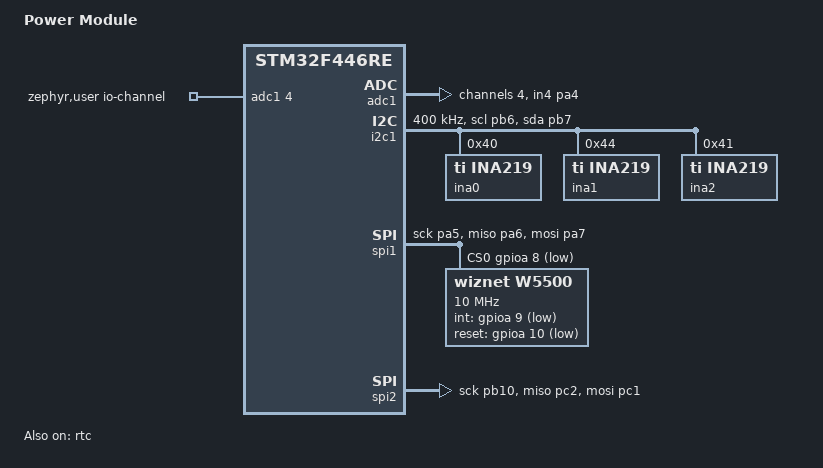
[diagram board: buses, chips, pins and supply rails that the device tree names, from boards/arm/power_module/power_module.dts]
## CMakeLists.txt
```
#-------------------------------------------------------------------------------
# Backplane Power Module Application
#
# Copyright (c) 2023 Aaron Chan
# SPDX-License-Identifier: Apache-2.0
cmake_minimum_required(VERSION 3.13.1)
find_package(Zephyr REQUIRED HINTS $ENV{ZEPHYR_BASE})

project(power-module LANGUAGES C)

FILE(GLOB sources src/*.c)
target_sources(app PRIVATE ${sources})
```

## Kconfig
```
# Copyright (c) 2024 Aaron Chan
# SPDX-License-Identifier: Apache-2.0

menu "Zephyr"
source "Kconfig.zephyr"
endmenu

config INA219_QUEUE_SIZE
    int "INA219 Queue Size"
    default 16
    help
      The number of samples to store in the INA219 processing queue.

config ADC_QUEUE_SIZE
    int "ADC Queue Size"
    default 16
    help
      The number of samples to store in the ADC processing queue.

module = APP_POWER_MODULE
module-str = APP_POWER_MODULE
source "subsys/logging/Kconfig.template.log_config"
```

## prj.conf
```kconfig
# Copyright (c) 2024 RIT Launch Initiative
# SPDX-License-Identifier: Apache-2.0

# ADC
CONFIG_ADC=y
CONFIG_ADC_ASYNC=y

# Clocks
CONFIG_CLOCK_CONTROL=y

# Flash
CONFIG_FLASH=y
CONFIG_FLASH_MAP=y
CONFIG_FLASH_PAGE_LAYOUT=y

# Filesystem
CONFIG_FLASH=y
CONFIG_FLASH_MAP=y
CONFIG_FLASH_PAGE_LAYOUT=y
CONFIG_DISK_ACCESS=y
CONFIG_FILE_SYSTEM=y
CONFIG_FILE_SYSTEM_LITTLEFS=y
CONFIG_FS_LITTLEFS_BLK_DEV=y

# Hashmap for UDP
CONFIG_SYS_HASH_MAP=y
CONFIG_SYS_HASH_FUNC32=y

# IO
CONFIG_GPIO=y
CONFIG_I2C=y
CONFIG_PINCTRL=y
CONFIG_SERIAL=y
CONFIG_LED=y

# OS
CONFIG_POLL=y
CONFIG_MAIN_STACK_SIZE=2048
CONFIG_STACK_USAGE=y
CONFIG_TIMESLICE_SIZE=50

# Launch Core
CONFIG_LAUNCH_CORE=y
CONFIG_LAUNCH_CORE_NET=y

# State Machine
CONFIG_SMF=y

# SPI
CONFIG_SPI=y
CONFIG_SPI_ASYNC=y
CONFIG_SPI_STM32_INTERRUPT=y
# CONFIG_SPI_STM32_DMA=y
CONFIG_SPI_RTIO=y

# Networking
CONFIG_NETWORKING=y
CONFIG_NET_ARP_TABLE_SIZE=4
CONFIG_NET_CONTEXT_RCVTIMEO=y
CONFIG_NET_DEFAULT_IF_ETHERNET=y
CONFIG_NET_DRIVERS=y
CONFIG_NET_IPV4=y
CONFIG_NET_IPV6=n
CONFIG_NET_L2_ETHERNET=y
CONFIG_NET_L2_ETHERNET_MGMT=y
CONFIG_NET_MAX_CONN=10
CONFIG_NET_SOCKETS=y
CONFIG_NET_SOCKETS_POSIX_NAMES=y
CONFIG_NET_STATISTICS=y
CONFIG_SNTP=y
CONFIG_TFTP_LIB=y

# RNG (Needed for networking)
CONFIG_ENTROPY_GENERATOR=y
CONFIG_TEST_RANDOM_GENERATOR=y # TODO: See if its worth using STM32 HW RNG to remove warning

# Sensors
CONFIG_SENSOR=y
CONFIG_SENSOR_ASYNC_API=y
```

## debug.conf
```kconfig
# Copyright (c) 2024 Launch Initiative
# SPDX-License-Identifier: Apache-2.0

# Compiler
CONFIG_DEBUG=y
CONFIG_DEBUG_OPTIMIZATIONS=y
CONFIG_DEBUG_THREAD_INFO=y
CONFIG_THREAD_RUNTIME_STATS=y

# Console
CONFIG_CBPRINTF_FP_SUPPORT=y
CONFIG_CONSOLE=y
CONFIG_CONSOLE_GETCHAR=y
CONFIG_CONSOLE_GETCHAR_BUFSIZE=64
CONFIG_CONSOLE_PUTCHAR_BUFSIZE=512
CONFIG_CONSOLE_SUBSYS=y
CONFIG_SERIAL=y
CONFIG_STDOUT_CONSOLE=y
CONFIG_UART_CONSOLE=y

# Shell (common)
CONFIG_SHELL=y
CONFIG_DEVICE_SHELL=y
CONFIG_FILE_SYSTEM_SHELL=y
CONFIG_FLASH_MAP_SHELL=y
CONFIG_GPIO_SHELL=y
CONFIG_KERNEL_SHELL=y
CONFIG_HEAP_MEM_POOL_SIZE=4096

# Shell (networking)
CONFIG_NET_SHELL=y
CONFIG_NET_ETHERNET_BRIDGE_SHELL=y

# Shell (unique)
CONFIG_I2C_SHELL=y

# Logging
CONFIG_APP_POWER_MODULE_LOG_LEVEL_DBG=y
CONFIG_LOG=y

# Networking
CONFIG_NET_STATISTICS=y
```

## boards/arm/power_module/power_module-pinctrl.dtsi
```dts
/ {
	soc {
		pinctrl: pin-controller@40020000 {
            eth_cs_pa8: eth_cs_pa8 {
                pinmux = <STM32_PINMUX('A', 8, GPIO)>;
            };

            flash_cs_pc0: flash_cs_pc0 {
                pinmux = <STM32_PINMUX('C', 11, GPIO)>;
            };
        };
    };
};
```

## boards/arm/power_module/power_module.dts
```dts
/*
 * Copyright (c) 2023 Aaron Chan
 *
 * SPDX-License-Identifier: Apache-2.0
 */

/dts-v1/;
#include <st/f4/stm32f446Xe.dtsi>
#include <st/f4/stm32f446r(c-e)tx-pinctrl.dtsi>
#include <zephyr/dt-bindings/input/input-event-codes.h>

/ {
	model = "Power Module";
	compatible = "st,stm32f446re-nucleo";

	chosen {
		zephyr,sram = &sram0;
		zephyr,flash = &flash0;
	};

	leds: leds {
		compatible = "gpio-leds";
	};

	aliases {
		inabatt = &ina0;
		ina3v3 = &ina1;
		ina5v0 = &ina2;
		vin = &adc1;
	};

	zephyr,user {
        io-channels = <&adc1 4>;
    };
};

&clk_lsi {
	status = "okay";
};

&clk_hsi {
	clock-frequency = <DT_FREQ_M(16)>;
	status = "okay";
};

&pll {
	div-m = <8>;
	mul-n = <90>;
	div-p = <2>;
	clocks = <&clk_hsi>;
	status = "okay";
};

&rcc {
	clocks = <&pll>;
	clock-frequency = <DT_FREQ_M(45)>;
	ahb-prescaler = <2>;
	apb1-prescaler = <2>;
	apb2-prescaler = <1>;
};

&adc1 {
	pinctrl-0 = <&adc1_in4_pa4>;
	pinctrl-names = "default";
	st,adc-clock-source = <SYNC>;
	st,adc-prescaler = <2>;
	status = "okay";
    #address-cells = <1>;
	#size-cells = <0>;

    channel@4 {
		reg = <4>;
		zephyr,gain = "ADC_GAIN_1";
		zephyr,reference = "ADC_REF_INTERNAL";
		zephyr,acquisition-time = <ADC_ACQ_TIME_DEFAULT>;
		zephyr,resolution = <12>;
	};
};



&i2c1 {
	pinctrl-0 = <&i2c1_scl_pb6 &i2c1_sda_pb7>;
	pinctrl-names = "default";
	status = "okay";
	clock-frequency = <I2C_BITRATE_FAST>;

    ina0: ina219_battery@40 {
		status = "okay";
		compatible = "ti,ina219";
		reg = <0x40>;
		brng = <0>;
		pg = <0>;
		sadc = <13>;
		badc = <13>;
		shunt-milliohm = <100>;
		lsb-microamp = <10>;
	};

    ina1: ina219_3v3@44 {
		status = "okay";
		compatible = "ti,ina219";
		reg = <0x44>;
		brng = <0>;
		pg = <0>;
		sadc = <13>;
		badc = <13>;
		shunt-milliohm = <100>;
		lsb-microamp = <10>;
	};

    ina2: ina219_5v0@41 {
		status = "okay";
		compatible = "ti,ina219";
		reg = <0x41>;
		brng = <0>;
		pg = <0>;
		sadc = <13>;
		badc = <13>;
		shunt-milliohm = <100>;
		lsb-microamp = <10>;
	};
};

&spi1 {
	pinctrl-0 = <&spi1_sck_pa5 &spi1_miso_pa6 &spi1_mosi_pa7>;
    cs-gpios = <&gpioa 8 GPIO_ACTIVE_LOW>;
	pinctrl-names = "default";
	status = "okay";

    w5500: w5500@0 {
        compatible = "wiznet,w5500";
        reg = <0x0>;
        spi-max-frequency = <10000000>;
        int-gpios = <&gpioa 9 GPIO_ACTIVE_LOW>;
        reset-gpios = <&gpioa 10 GPIO_ACTIVE_LOW>;
    };
};

&spi2 {
	pinctrl-0 = <&spi2_sck_pb10 &spi2_miso_pc2 &spi2_mosi_pc1>;
    cs-gpios = <&gpioc 0 GPIO_ACTIVE_LOW>;
	pinctrl-names = "default";
	status = "okay";
};

&rtc {
	clocks = <&rcc STM32_CLOCK_BUS_APB1 0x10000000>,
		 <&rcc STM32_SRC_LSI RTC_SEL(2)>;
	status = "okay";
};

&backup_sram {
	status = "okay";
};

&flash0 {

	partitions {
		compatible = "fixed-partitions";
		#address-cells = <1>;
		#size-cells = <1>;

		boot_partition: partition@0 {
			label = "mcuboot";
			reg = <0x00000000 DT_SIZE_K(64)>;
			read-only;
		};

		/*
		 * The flash starting at 0x00010000 and ending at
		 * 0x0001ffff (sectors 16-31) is reserved for use
		 * by the application.
		 */
		storage_partition: partition@10000 {
			label = "storage";
			reg = <0x00010000 DT_SIZE_K(64)>;
		};

		slot0_partition: partition@20000 {
			label = "image-0";
			reg = <0x00020000 DT_SIZE_K(128)>;
		};
		slot1_partition: partition@40000 {
			label = "image-1";
			reg = <0x00040000 DT_SIZE_K(128)>;
		};
		scratch_partition: partition@60000 {
			label = "image-scratch";
			reg = <0x00060000 DT_SIZE_K(128)>;
		};
	};
};
```

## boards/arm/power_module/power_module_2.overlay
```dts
/ {
    aliases {
//        debug-uart = &uart;
        led0 = &led_0;
        led1 = &led_1;
        led2 = &led_2;
        led3 = &led_3;
        ledwiz = &wiznet_led;
    };

    leds: leds {
		compatible = "gpio-leds";
        led_0: led_0 {
            gpios = <&gpiob 12 GPIO_ACTIVE_HIGH>;
        };

        led_1: led_1 {
            gpios = <&gpiob 13 GPIO_ACTIVE_HIGH>;
        };

        led_2: led_2 {
            gpios = <&gpiob 14 GPIO_ACTIVE_HIGH>;
        };

        led_3: led_3 {
            gpios = <&gpiob 15 GPIO_ACTIVE_HIGH>;
        };

        wiznet_led: wiznet_led {
            gpios = <&gpioc 7 GPIO_ACTIVE_HIGH>;
        };

	};

//    soc {
//        uart5 {
//            pinctrl-0 = <&uart5_tx_pc12 &uart5_rx_pd2>;
//            pinctrl-names = "default";
//            current-speed = <115200>;
//            status = "okay";
//        };
//    };
};
```

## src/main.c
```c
/*
 * Copyright (c) 2023 RIT Launch Initiative
 *
 * SPDX-License-Identifier: Apache-2.0
 */

#include "power_module.h"

#include <launch_core/os/fs.h>
#include <launch_core/utils/event_monitor.h>
#include <zephyr/drivers/gpio.h>
#include <zephyr/kernel.h>
#include <zephyr/logging/log.h>
#include <zephyr/smf.h>

LOG_MODULE_REGISTER(main, CONFIG_APP_POWER_MODULE_LOG_LEVEL);

#define DEFINE_STATE_FUNCTIONS(state_name)                                                                             \
    static void state_name##_state_entry(void *);                                                                      \
    static void state_name##_state_run(void *);                                                                        \
    static void state_name##_state_exit(void *) {}

struct s_object {
    struct smf_ctx ctx;
} state_obj;

bool logging_enabled; // Keep separate from s_object to eliminate extra #includes in other src fiels

DEFINE_STATE_FUNCTIONS(ground);
DEFINE_STATE_FUNCTIONS(flight);

static const struct smf_state states[] = {
    [GROUND_STATE] = SMF_CREATE_STATE(ground_state_entry, ground_state_run, ground_state_exit),
    [FLIGHT_STATE] = SMF_CREATE_STATE(flight_state_entry, flight_state_run, flight_state_exit),
};

static void ground_state_entry(void *) {
    LOG_INF("Entered ground state");
    logging_enabled = false;
}

static void ground_state_run(void *) {
    while (true) {
        if (l_get_event_udp() == L_BOOST_DETECTED) {
            smf_set_state(SMF_CTX(&state_obj), &states[FLIGHT_STATE]);
            return;
        }
    }
}
static void flight_state_entry(void *) {
    LOG_INF("Entered flight state");
    logging_enabled = true;
}

static void flight_state_run(void *) {
    while (true) {
        if (l_get_event_udp() == L_LANDING_DETECTED) {
            smf_set_state(SMF_CTX(&state_obj), &states[GROUND_STATE]);
            return;
        }
    }
}

static void init() {
    init_networking();

    smf_set_initial(SMF_CTX(&state_obj), &states[GROUND_STATE]);
    l_init_event_monitor(POWER_MODULE_IP_ADDR);

    l_fs_boot_count_check();
}

int main(void) {
    init();

    while (true) {
        static int ret = 0;
        if (ret == 0) {
            ret = smf_run_state(SMF_CTX(&state_obj));
            if (ret < 0) {
                LOG_ERR("Failed to run state machine: %d", ret);
            }
        }
    }

    return 0;
}
```

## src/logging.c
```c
// Self Include
#include "power_module.h"

// Launch Includes
#include <launch_core/os/fs.h>
#include <launch_core/types.h>

// Zephyr Includes
#include <zephyr/drivers/gpio.h>
#include <zephyr/kernel.h>
#include <zephyr/logging/log.h>

#define LOGGING_STACK_SIZE 4096
#define MAX_DIR_NAME_LEN   10 // 4 number boot count + 5 for "/lfs/" + 1 for end slash
#define MAX_FILE_NAME_LEN  3

#define INA_SAMPLE_COUNT  4600          // 15 samples per second for 5 minutes (rounded to nearest hundred)
#define ADC_SAMPLE_COUNT  16000         // 50 samples per second for 5 minutes (rounded to nearest thousand)
#define GNSS_SAMPLE_COUNT (10 * 60 / 2) // 1 samples every 2 seconds for 10 minutes
LOG_MODULE_REGISTER(logging);

static void logging_task(void);
K_THREAD_DEFINE(data_logger, LOGGING_STACK_SIZE, logging_task, NULL, NULL, NULL, K_PRIO_PREEMPT(20), 0, 1000);

// Message queues
// TODO: Avoid duplicate queues. Fine for now since this isn't too expensive and we have the memory.
// Easier for now since we also need to buffer data before launch
K_MSGQ_DEFINE(ina_logging_msgq, sizeof(timed_power_module_telemetry_t), 50, 4);
K_MSGQ_DEFINE(adc_logging_msgq, sizeof(timed_adc_telemetry_t), 200, 4);
K_MSGQ_DEFINE(gnss_logging_msgq, sizeof(l_gnss_time_sync_t), 200, 4);

#ifdef CONFIG_SEND_LAST_LOG
#include <launch_core/net/tftp.h>
static void send_last_log(const uint32_t boot_count_to_get) {
    LOG_INF("Attempting to send last logs over TFTP");
    // Open /lfs/current_boot_count-1 directory
    char dir_name[MAX_DIR_NAME_LEN] = "";
    snprintf(dir_name, sizeof(dir_name), "/lfs/%d", boot_count_to_get);

    // Setup output file names
    char ina_output_file_name[MAX_FILE_NAME_LEN + 4] = "";
    snprintf(ina_output_file_name, sizeof(ina_output_file_name), "ina_%d", boot_count_to_get);

    char adc_output_file_name[MAX_DIR_NAME_LEN + MAX_FILE_NAME_LEN + 1] = "";
    snprintf(adc_output_file_name, sizeof(adc_output_file_name), "adc_%d", boot_count_to_get);
    LOG_INF("Writing last logs to %s and %s", ina_output_file_name, adc_output_file_name);

    // Read INA into buffer
    char ina_file_name[MAX_DIR_NAME_LEN + MAX_FILE_NAME_LEN + 1] = "";
    snprintf(ina_file_name, sizeof(ina_file_name), "%s/ina", dir_name);
    l_fs_file_t ina_file = {
        .fname = ina_file_name,
        .width = sizeof(timed_power_module_telemetry_t),
        .mode = SLOG_ONCE,
        .size = sizeof(timed_power_module_telemetry_t) * INA_SAMPLE_COUNT,
        .initialized = false,
        .file = {0},
        .dirent = {0},
        .vfs = {0},
        .wpos = 0,
    };

    char adc_file_name[MAX_DIR_NAME_LEN + MAX_FILE_NAME_LEN + 1] = "";
    snprintf(adc_file_name, sizeof(adc_file_name), "%s/adc", dir_name);
    l_fs_file_t adc_file = {
        .fname = adc_file_name,
        .width = sizeof(timed_adc_telemetry_t),
        .mode = SLOG_ONCE,
        .size = sizeof(timed_adc_telemetry_t) * ADC_SAMPLE_COUNT,
        .initialized = false,
        .file = {0},
        .dirent = {0},
        .vfs = {0},
        .wpos = 0,
    };

    static char gnss_file_name[MAX_DIR_NAME_LEN + MAX_FILE_NAME_LEN + 1] = "";
    snprintf(gnss_file_name, sizeof(gnss_file_name), "%s/gns", dir_name);
    static l_fs_file_t gnss_file = {
        .fname = gnss_file_name,
        .width = sizeof(l_gnss_time_sync_t),
        .mode = SLOG_ONCE,
        .size = sizeof(l_gnss_time_sync_t) * GNSS_SAMPLE_COUNT,
        .initialized = false,
        .file = {0},
        .dirent = {0},
        .vfs = {0},
        .wpos = 0,
    };

    timed_power_module_telemetry_t ina_data[INA_SAMPLE_COUNT] = {0};
    size_t ina_log_file_size = l_fs_file_size(&ina_file);
    LOG_INF("Previous INA219 Log File Size: %d", ina_log_file_size);
    if ((l_fs_init(&ina_file) == 0) && fs_read(&ina_file.file, &ina_data, ina_log_file_size)) {
        l_tftp_init_and_put(L_DEFAULT_SERVER_IP, ina_output_file_name, (uint8_t *) &ina_data, ina_log_file_size);
        l_fs_close(&ina_file);
    } else {
        LOG_ERR("Failed to read INA data from file.");
    }

    timed_adc_telemetry_t adc_data[ADC_SAMPLE_COUNT] = {0};
    size_t adc_log_file_size = l_fs_file_size(&adc_file);
    LOG_INF("Previous ADC Log File Size: %d", adc_log_file_size);
    if ((l_fs_init(&adc_file) == 0) && fs_read(&adc_file.file, &adc_data, adc_log_file_size)) {
        l_tftp_init_and_put(L_DEFAULT_SERVER_IP, adc_output_file_name, (uint8_t *) &adc_data, adc_log_file_size);
        l_fs_close(&adc_file);
    } else {
        LOG_ERR("Failed to read ADC data from file.");
    }

    timed_sensor_module_ten_hz_telemetry_t gnss_data[TEN_HZ_SAMPLE_COUNT] = {0};
    size_t gnss_log_file_size = l_fs_file_size(&gnss_file);
    LOG_INF("Previous gnss Log File Size: %d", gnss_log_file_size);
    if ((l_fs_init(&gnss_file) == 0) && fs_read(&gnss_file.file, &gnss_data, gnss_log_file_size)) {
        l_tftp_init_and_put(L_DEFAULT_SERVER_IP, gnss_file_name, (uint8_t *) &gnss_data, gnss_log_file_size);
        l_fs_close(&gnss_file);
    } else {
        LOG_ERR("Failed to read gnss data from file.");
    }
}
#endif

static void init_logging(l_fs_file_t **p_ina_file, l_fs_file_t **p_adc_file, l_fs_file_t **p_gnss_file) {
    uint32_t boot_count = l_fs_boot_count_check();
#ifdef CONFIG_SEND_LAST_LOG
    send_last_log(boot_count);
#endif
    // Create directory with boot count
    char dir_name[MAX_DIR_NAME_LEN] = "";
    snprintf(dir_name, sizeof(dir_name), "/lfs/%d", boot_count);
    LOG_INF("Logging files to %s", dir_name);
    fs_mkdir(dir_name);

    // Create filenames
    static char ina_file_name[MAX_DIR_NAME_LEN + MAX_FILE_NAME_LEN + 1] = "";
    snprintf(ina_file_name, sizeof(ina_file_name), "%s/ina", dir_name);

    static char adc_file_name[MAX_DIR_NAME_LEN + MAX_FILE_NAME_LEN + 1] = "";
    snprintf(adc_file_name, sizeof(adc_file_name), "%s/adc", dir_name);

    static char gnss_file_name[MAX_DIR_NAME_LEN + MAX_FILE_NAME_LEN + 1] = "";
    snprintf(gnss_file_name, sizeof(gnss_file_name), "%s/gns", dir_name);

    // Initialize structs
    static l_fs_file_t ina_file = {
        .fname = ina_file_name,
        .width = sizeof(timed_power_module_telemetry_t),
        .mode = SLOG_ONCE,
        .size = sizeof(timed_power_module_telemetry_t) * INA_SAMPLE_COUNT,
        .initialized = false,
        .file = {0},
        .dirent = {0},
        .vfs = {0},
        .wpos = 0,
    };

    static l_fs_file_t adc_file = {
        .fname = adc_file_name,
        .width = sizeof(timed_adc_telemetry_t),
        .mode = SLOG_ONCE,
        .size = sizeof(timed_adc_telemetry_t) * ADC_SAMPLE_COUNT,
        .initialized = false,
        .file = {0},
        .dirent = {0},
        .vfs = {0},
        .wpos = 0,
    };

    static l_fs_file_t gnss_file = {
        .fname = gnss_file_name,
        .width = sizeof(l_gnss_time_sync_t),
        .mode = SLOG_ONCE,
        .size = sizeof(l_gnss_time_sync_t) * GNSS_SAMPLE_COUNT,
        .initialized = false,
        .file = {0},
        .dirent = {0},
        .vfs = {0},
        .wpos = 0,
    };

    LOG_INF("Creating files %s, %s, and %s", ina_file_name, adc_file_name, gnss_file_name);

    // Initialize files
    if (l_fs_init(&ina_file) == 0) {
        LOG_INF("Successfully created file for storing INA219 data.");
        *p_ina_file = &ina_file;
    }

    if (l_fs_init(&adc_file) == 0) {
        LOG_INF("Successfully created file for storing ADC data.");
        *p_adc_file = &adc_file;
    }
    if (l_fs_init(&gnss_file) == 0) {
        LOG_INF("Successfully created file for storing GNSS data.");
        *p_adc_file = &gnss_file;
    }
}

extern bool logging_enabled;

static void logging_task(void) {
    static const struct gpio_dt_spec led1 = GPIO_DT_SPEC_GET(DT_ALIAS(led1), gpios);
    static const struct gpio_dt_spec led3 = GPIO_DT_SPEC_GET(DT_ALIAS(led3), gpios);

    l_fs_file_t *ina_file = NULL;
    l_fs_file_t *adc_file = NULL;
    l_fs_file_t *gnss_file = NULL;

    timed_power_module_telemetry_t sensor_telemetry;
    timed_adc_telemetry_t vin_adc_data_v;
    l_gnss_time_sync_t gnss_data;

    init_logging(&ina_file, &adc_file, &gnss_file);

    bool ina_out_of_space = false;
    bool adc_out_of_space = false;
    bool gnss_out_of_space = false;

    while (true) {
        if (!logging_enabled) {
            continue;
        }

        if (!k_msgq_get(&ina_logging_msgq, &sensor_telemetry, K_MSEC(10)) && (ina_file != NULL) &&
            (!ina_out_of_space)) {
            LOG_INF("Logged INA219 data");
            gpio_pin_toggle_dt(&led1);

            int32_t err_flag = 0;
            l_fs_write(ina_file, (const uint8_t *) &sensor_telemetry, &err_flag);
            ina_out_of_space = err_flag == -ENOSPC;
            LOG_INF("%d", err_flag);
        }

        if (!k_msgq_get(&adc_logging_msgq, &vin_adc_data_v, K_MSEC(3)) && (adc_file != NULL) && (!adc_out_of_space)) {
            LOG_INF("Logged ADC data");
            gpio_pin_toggle_dt(&led3);

            int32_t err_flag = 0;
            l_fs_write(adc_file, (const uint8_t *) &vin_adc_data_v, &err_flag);
            adc_out_of_space = err_flag == -ENOSPC;
            LOG_INF("%d", err_flag);
        }
        if (!k_msgq_get(&gnss_logging_msgq, &gnss_data, K_MSEC(3)) && (gnss_file != NULL) && (!gnss_out_of_space)) {
            LOG_INF("Logged GNSS data");
            gpio_pin_toggle_dt(&led3);

            int32_t err_flag = 0;
            l_fs_write(gnss_file, (const uint8_t *) &gnss_data, &err_flag);
            gnss_out_of_space = err_flag == -ENOSPC;
            LOG_INF("%d", err_flag);
        }

        if (ina_out_of_space && adc_out_of_space && gnss_out_of_space) {
            LOG_ERR("Out of space on both INA219, ADC and GNSS files. Stopping logging.");
            logging_enabled = false;
            l_fs_close(ina_file);
            l_fs_close(adc_file);
            l_fs_close(gnss_file);
            return;
        }
    }
}
```

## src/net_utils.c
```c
/*
 * Copyright (c) 2023 Aaron Chan
 *
 * SPDX-License-Identifier: Apache-2.0
 */

#include "net_utils.h"

#include <zephyr/kernel.h>
#include <zephyr/net/socket.h>
#include <zephyr/net/ethernet.h>
#include <zephyr/net/net_event.h>

#include <zephyr/logging/log.h>

LOG_MODULE_REGISTER(net_utils, CONFIG_APP_LOG_LEVEL);

static struct net_if *net_interface;

int init_eth_iface(void) {
    const struct device *const wiznet = DEVICE_DT_GET_ONE(wiznet_w5500);
    if (!device_is_ready(wiznet)) {
        LOG_INF("Device %s is not ready.\n", wiznet->name);
        return -ENODEV;
    } 
    
    LOG_INF("Device %s is ready.\n", wiznet->name);
    return 0;
}

int init_net_stack(void) {
    static const char ip_addr[] = "10.10.10.69";
    int ret;

    net_interface = net_if_get_default();
    if (!net_interface) {
        LOG_INF("No network interface found\n");
        return -ENODEV;
    }

    struct in_addr addr;
    ret = net_addr_pton(AF_INET, ip_addr, &addr);
    if (ret < 0) {
        LOG_INF("Invalid IP address\n");
        return ret;
    }

    struct net_if_addr *ifaddr = net_if_ipv4_addr_add(net_interface, &addr, NET_ADDR_MANUAL, 0);
    if (!ifaddr) {
        LOG_INF("Failed to add IP address\n");
        return -ENODEV;
    }

    LOG_INF("IPv4 address configured: %s\n", ip_addr);

    return 0;
}

int send_udp_broadcast(const uint8_t *data, size_t data_len) {
    int sock;
    int ret;

    sock = socket(AF_INET, SOCK_DGRAM, IPPROTO_UDP);
    if (sock < 0) {
        LOG_INF("Failed to create socket (%d)\n", sock);
        return sock;
    }

    struct sockaddr_in dst_addr;
    dst_addr.sin_family = AF_INET;
    dst_addr.sin_port = htons(10000);
    ret = net_addr_pton(AF_INET, "255.255.255.255", &dst_addr.sin_addr);
    if (ret < 0) {
        LOG_INF("Invalid IP address format\n");
        close(sock);
        return ret;
    }

    ret = sendto(sock, data, data_len, 0, (struct sockaddr *) &dst_addr, sizeof(dst_addr));
    if (ret < 0) {
        LOG_INF("Failed to send UDP broadcast (%d)\n", ret);
        close(sock);
        return ret;
    }

    LOG_INF("Sent UDP broadcast: %s\n", data);

    close(sock);
    return 0;
}
```

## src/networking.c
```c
/*
 * Copyright (c) 2024 RIT Launch Initiative
 *
 * SPDX-License-Identifier: Apache-2.0
 */

// Self Include
#include "power_module.h"

// Launch Includes
#include <launch_core/backplane_defs.h>
#include <launch_core/dev/dev_common.h>
#include <launch_core/net/net_common.h>
#include <launch_core/net/udp.h>
#include <launch_core/types.h>

// Zephyr Includes
#include <zephyr/drivers/gpio.h>
#include <zephyr/logging/log.h>

#define QUEUE_PROCESSING_STACK_SIZE (1024)
#define NUM_SOCKETS                 1

// TODO: Annoying RTOS setup where priority needs to be higher than other tasks and queues need to sleep
// Otherwise, logging task gets starved during flight
K_THREAD_DEFINE(telemetry_broadcast, QUEUE_PROCESSING_STACK_SIZE, telemetry_broadcast_task, NULL, NULL, NULL,
                K_PRIO_PREEMPT(19), 0, 1000);

extern struct k_msgq ina_telemetry_msgq;
extern struct k_msgq adc_telemetry_msgq;

static int udp_sockets[NUM_SOCKETS] = {0};
static int udp_socket_ports[] = {POWER_MODULE_BASE_PORT + POWER_MODULE_INA_DATA_PORT};
static l_udp_socket_list_t udp_socket_list = {.sockets = udp_sockets, .num_sockets = NUM_SOCKETS};

LOG_MODULE_REGISTER(networking);

void init_networking() {
    const struct device *wiznet = DEVICE_DT_GET_ONE(wiznet_w5500);
    if (l_check_device(wiznet) != 0) {
        LOG_ERR("Wiznet device not found");
        return;
    }

    int ret = l_init_udp_net_stack_default(POWER_MODULE_IP_ADDR);
    if (ret != 0) {
        LOG_ERR("Failed to initialize UDP networking stack: %d", ret);
        return;
    }

    for (int i = 0; i < udp_socket_list.num_sockets; i++) {
        udp_socket_list.sockets[i] = l_init_udp_socket(POWER_MODULE_IP_ADDR, udp_socket_ports[i]);
        if (udp_socket_list.sockets[i] < 0) {
            LOG_ERR("Failed to create UDP socket: %d", udp_socket_list.sockets[i]);
            return;
        }
    }
}

void telemetry_broadcast_task(void) {
    static const struct gpio_dt_spec led0 = GPIO_DT_SPEC_GET(DT_ALIAS(led0), gpios);
    static const struct gpio_dt_spec led2 = GPIO_DT_SPEC_GET(DT_ALIAS(led2), gpios);

    timed_power_module_telemetry_t sensor_telemetry = {0};
    timed_adc_telemetry_t vin_adc_data_v = {0};
    int sock = udp_socket_list.sockets[0];

    while (true) {
        if (!k_msgq_get(&ina_telemetry_msgq, &sensor_telemetry, K_MSEC(10))) {
            gpio_pin_toggle_dt(&led0);
            l_send_udp_broadcast(sock, (uint8_t *) &sensor_telemetry, sizeof(timed_power_module_telemetry_t),
                                 POWER_MODULE_BASE_PORT + POWER_MODULE_INA_DATA_PORT);
        }

        if (!k_msgq_get(&adc_telemetry_msgq, &vin_adc_data_v, K_MSEC(10))) {
            gpio_pin_toggle_dt(&led2);
#ifdef CONFIG_DEBUG
            l_send_udp_broadcast(sock, (uint8_t *) &vin_adc_data_v, sizeof(float),
                                 POWER_MODULE_BASE_PORT + POWER_MODULE_ADC_DATA_PORT);
#endif
        }
    }
}
```

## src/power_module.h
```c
#ifndef POWER_MODULE_H
#define POWER_MODULE_H

#include <launch_core/backplane_defs.h>
#include <launch_core/net/net_common.h>

#define POWER_MODULE_IP_ADDR BACKPLANE_IP(POWER_MODULE_ID, 2, 1) // TODO: Make this configurable

typedef enum {
    GROUND_STATE = 0,
    FLIGHT_STATE,
} FLIGHT_STATES;

/**
 * Initialize networking
 */
void init_networking();

/**
 * Task for reading INA219 sensor data into a queue
 */
void ina_task(void);

/**
 * Task for reading ADC data into a queue
 */
void adc_task(void);

/**
 * Task for broadcasting data from a queue over UDP
 */
void telemetry_broadcast_task(void);

#endif //POWER_MODULE_H
```

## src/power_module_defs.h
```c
/*
 * Copyright (c) 2023 Aaron Chan
 *
 * SPDX-License-Identifier: Apache-2.0
 */

#ifndef POWER_MODULE_DEFS_H_
#define POWER_MODULE_DEFS_H_
#include <zephyr/drivers/sensor.h>

// Aligned structs for Zephyr queues
typedef struct {
    uint32_t timestamp;
    ina_data_t data_battery;
    ina_data_t data_3v3;
    ina_data_t data_5v0;
    int16_t vin_adc_data_mv;
} power_module_telemetry_t;

// Packed data for sending over the network and storing as compactly as possible
typedef struct __attribute__((packed)) {
    float current_battery;
    float voltage_battery;
    float power_battery;

    float current_3v3;
    float voltage_3v3;
    float power_3v3;

    float current_5v0;
    float voltage_5v0;
    float power_5v0;

    float vin_adc_data_v;
} power_module_telemetry_packed_t;


#endif
```

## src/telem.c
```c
/*
 * Copyright (c) 2023 Aaron Chan
 *
 * SPDX-License-Identifier: Apache-2.0
 */

#include "telem.h"

#include <stdint.h>

#include <launch_core/device_utils.h>
#include <launch_core/net_utils.h>

#include <zephyr/kernel.h>

#include <zephyr/drivers/adc.h>
#include <zephyr/drivers/gpio.h>

#include <zephyr/logging/log.h>

#define STACK_SIZE (2048)

LOG_MODULE_REGISTER(telem, CONFIG_APP_LOG_LEVEL
);

//static K_THREAD_STACK_DEFINE(adc_stack, STACK_SIZE);
static K_THREAD_STACK_ARRAY_DEFINE(stacks,
4, STACK_SIZE);

static power_module_data_t power_module_data = {0};
static struct k_thread threads[4] = {0};

static void ina_task(void *, void *, void *) {
    // TODO: Maybe alias each sensor in the DTS
    const struct device *sensors[] = {
            DEVICE_DT_GET(DT_INST(0, ti_ina219)), // Battery
            DEVICE_DT_GET(DT_INST(1, ti_ina219)), // 3v3
            DEVICE_DT_GET(DT_INST(2, ti_ina219)) // 5v0
    };

    const enum sensor_channel ina_channels[] = {
            SENSOR_CHAN_CURRENT,
            SENSOR_CHAN_VOLTAGE,
            SENSOR_CHAN_POWER
    };

    ina_data_t data_battery = {0};
    ina_data_t data_3v3 = {0};
    ina_data_t data_5v0 = {0};


    // TODO: Testing and publishing data
    while (true) {
        l_update_sensors(sensors, 3);
        l_get_sensor_data(sensors[0], 3, ina_channels, (struct sensor_value **) &data_battery);
        l_get_sensor_data(sensors[1], 3, ina_channels, (struct sensor_value **) &data_3v3);
        l_get_sensor_data(sensors[2], 3, ina_channels, (struct sensor_value **) &data_5v0);
    }
}

// static void adc_task(void *unused0, void *unused1, void *unused2) {
//     uint16_t buff;
//     
//     struct adc_sequence adc_seq = {
//         .buffer = &buff,
//         .buffer_size = sizeof(buff)
//     };
//
//     static const struct adc_channel_cfg vin_volt_sens_channel = ADC_CHANNEL_CFG_DT(adc1);
//     // if (!adc_is_ready_dt()) {
//     //     LOG_ERR("ADC device is not ready\n");
//     //     return;
//     // }
//
//     // if (!adc_channel_setup_dt()) {
//     //     LOG_ERR("ADC channel setup failed\n");
//     //     return;
//     // }
//
//
//     while (1) {
//         int32_t tmp = 0;
//         // if (!adc_read(, &adc_seq)) {
//         //     LOG_ERR("ADC read failed\n");
//         //     continue;
//         // }
//         //
//         // if (adc_raw_to_millivolts_dt(, &tmp)) {
//             power_module_data.vin_voltage_sense = tmp;
//         k_msleep(1000);
//         // }
//     };
// }

void init_telem_tasks() {
    // TODO: Maybe make this one thread that does all the INA stuff
    for (int i = 0; i < 3; i++) {
        k_thread_create(&threads[i], &stacks[i][0], STACK_SIZE,
                        ina_task, INT_TO_POINTER(i), NULL, NULL,
                        K_PRIO_PREEMPT(10), 0, K_NO_WAIT);

        k_thread_start(&threads[i]);
    }
}

void convert_and_send() {
    static power_module_packet_t packet = {0};
    static uint8_t flip_flop = 0;

    packet.current_battery = sensor_value_to_float(&power_module_data.ina_battery.current);
    packet.voltage_battery = sensor_value_to_float(&power_module_data.ina_battery.voltage);
    packet.power_battery = sensor_value_to_float(&power_module_data.ina_battery.power);

    packet.current_3v3 = sensor_value_to_float(&power_module_data.ina_3v3.current);
    packet.voltage_3v3 = sensor_value_to_float(&power_module_data.ina_3v3.voltage);
    packet.power_3v3 = sensor_value_to_float(&power_module_data.ina_3v3.power);

    packet.current_5v0 = sensor_value_to_float(&power_module_data.ina_5v0.current);
    packet.voltage_5v0 = sensor_value_to_float(&power_module_data.ina_5v0.voltage);
    packet.power_5v0 = sensor_value_to_float(&power_module_data.ina_5v0.power);
    packet.vin_voltage_sense = flip_flop ? 0xDEAD : 0xBEEF;
    flip_flop ^= 0b1;


    l_send_udp_broadcast((const uint8_t *) &packet, sizeof(power_module_packet_t), 9000);
}
```

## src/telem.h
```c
/*
 * Copyright (c) 2023 Aaron Chan
 *
 * SPDX-License-Identifier: Apache-2.0
 */
#include <zephyr/drivers/sensor.h>

#ifndef POWER_MODULE_TELEM_H_
#define POWER_MODULE_TELEM_H_

typedef struct {
  struct sensor_value current;
  struct sensor_value voltage;
  struct sensor_value power;
} ina_data_t;

typedef struct {
  ina_data_t ina_battery;
  ina_data_t ina_3v3;
  ina_data_t ina_5v0;
  int16_t vin_voltage_sense;
} power_module_data_t;

typedef struct __attribute__((__packed__)) {
  float current_battery;
  float voltage_battery;
  float power_battery;

  float current_3v3;
  float voltage_3v3;
  float power_3v3;

  float current_5v0;
  float voltage_5v0;
  float power_5v0;

  int16_t vin_voltage_sense;
} power_module_packet_t;

void init_telem_tasks();

void convert_and_send();
#endif
```

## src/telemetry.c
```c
/*
 * Copyright (c) 2024 RIT Launch Initiative
 *
 * SPDX-License-Identifier: Apache-2.0
 */

// Self Include
#include "power_module.h"

// Launch Includes
#include <launch_core/dev/adc.h>
#include <launch_core/dev/dev_common.h>
#include <launch_core/dev/sensor.h>

// Zephyr Includes
#include <zephyr/kernel.h>
#include <zephyr/logging/log.h>

#define INA219_UPDATE_TIME_MS  (67)
#define ADC_UPDATE_TIME_MS     (15)
#define SENSOR_READ_STACK_SIZE (1024)

LOG_MODULE_REGISTER(telemetry);

// Threads
K_THREAD_DEFINE(ina_thread, SENSOR_READ_STACK_SIZE, ina_task, NULL, NULL, NULL, K_PRIO_PREEMPT(10), 0, 1000);
// K_THREAD_DEFINE(adc_thread, SENSOR_READ_STACK_SIZE, adc_task, NULL, NULL, NULL, K_PRIO_PREEMPT(10), 0, 1000);

// Message Queues
K_MSGQ_DEFINE(ina_telemetry_msgq, sizeof(power_module_telemetry_t), 10, 4);
K_MSGQ_DEFINE(adc_telemetry_msgq, sizeof(float), 20, 4);

// Timers
K_TIMER_DEFINE(ina_task_timer, NULL, NULL);
K_TIMER_DEFINE(adc_task_timer, NULL, NULL);

// Extern variables
extern bool logging_enabled;
extern struct k_msgq ina_logging_msgq;
extern struct k_msgq adc_logging_msgq;

static bool init_ina_task(const struct device *sensors[3], bool ina_device_found[3]) {
    const char *sensor_names[] = {"Battery", "3v3", "5v0"};
    int error_count = 0;

    for (int i = 0; i < 3; i++) {
        ina_device_found[i] = l_check_device(sensors[i]) == 0;
        if (!ina_device_found[i]) {
            LOG_ERR("INA219 %s sensor not found", sensor_names[i]);
            error_count++;
        }
    }

    if (error_count == 3) {
        return false;
    }

    k_timer_start(&ina_task_timer, K_MSEC(INA219_UPDATE_TIME_MS), K_MSEC(INA219_UPDATE_TIME_MS));
    return true;
}

// static bool init_adc_task(const struct adc_dt_spec *p_vin_sense_adc, struct adc_sequence *p_vin_sense_sequence) {
//     const bool adc_ready = l_init_adc_channel(p_vin_sense_adc, p_vin_sense_sequence) == 0;
//
//     if (!adc_ready) {
//         LOG_ERR("ADC channel %d is not ready", p_vin_sense_adc->channel_id);
//     } else {
//         k_timer_start(&adc_task_timer, K_MSEC(ADC_UPDATE_TIME_MS), K_MSEC(ADC_UPDATE_TIME_MS));
//     }
//
//     return adc_ready;
// }

void ina_task(void) {
    const struct device *sensors[] = {
        DEVICE_DT_GET(DT_ALIAS(inabatt)), // Battery
        DEVICE_DT_GET(DT_ALIAS(ina3v3)),  // 3v3
        DEVICE_DT_GET(DT_ALIAS(ina5v0))   // 5v0
    };

    bool ina_device_found[3] = {false};
    timed_power_module_telemetry_t sensor_telemetry = {0};

    if (!init_ina_task(sensors, ina_device_found)) {
        return;
    }

    while (true) {
        k_timer_status_sync(&ina_task_timer); // TODO: Confirm timing

        l_update_sensors_safe(sensors, 3, ina_device_found);

        l_get_shunt_data_float(sensors[0], &sensor_telemetry.data.data_battery);
        l_get_shunt_data_float(sensors[1], &sensor_telemetry.data.data_3v3);
        l_get_shunt_data_float(sensors[2], &sensor_telemetry.data.data_5v0);
        sensor_telemetry.timestamp = k_uptime_get();

        if (k_msgq_put(&ina_telemetry_msgq, &sensor_telemetry.data, K_NO_WAIT)) {
        }

        // Buffer up data for logging before boost. If no space, throw out the oldest entry.
        if (!logging_enabled && k_msgq_num_free_get(&ina_logging_msgq) == 0) {
            timed_power_module_telemetry_t throwaway_data;
            k_msgq_get(&ina_logging_msgq, &throwaway_data, K_NO_WAIT);
        }

        if (k_msgq_put(&ina_logging_msgq, &sensor_telemetry, K_MSEC(INA219_UPDATE_TIME_MS))) {
        }
    }
}

// void adc_task(void) {
//     static const float adc_gain = 0.09f;
//     static const float mv_to_v_multiplier = 0.001f;
//     const struct adc_dt_spec vin_sense_adc = ADC_DT_SPEC_GET_BY_IDX(DT_PATH(zephyr_user), 0);
//
//     float vin_adc_data_mv = 0;
//     uint16_t temp_vin_adc_data = 0;
//
//     struct adc_sequence vin_sense_sequence = {
//         .buffer = &temp_vin_adc_data,
//         .buffer_size = sizeof(temp_vin_adc_data),
//     };
//
//     if (!init_adc_task(&vin_sense_adc, &vin_sense_sequence)) {
//         return;
//     }
//
//     while (true) {
//         k_timer_status_sync(&adc_task_timer);
//
//         if (0 < l_read_adc_mv(&vin_sense_adc, &vin_sense_sequence, (int32_t *) &vin_adc_data_mv)) {
//             LOG_ERR("Failed to read ADC value from %d", vin_sense_adc.channel_id);
//             continue;
//         }
//
//         float vin_adc_data_v = (vin_adc_data_mv * mv_to_v_multiplier) * adc_gain;
//         k_msgq_put(&adc_telemetry_msgq, &vin_adc_data_v, K_NO_WAIT);
//
//         // Buffer up data for logging before boost. If no space, throw out the oldest entry.
//         if (!logging_enabled && k_msgq_num_free_get(&adc_logging_msgq) == 0) {
//             timed_adc_telemetry_t throwaway_data;
//             k_msgq_get(&adc_logging_msgq, &throwaway_data, K_NO_WAIT);
//         }
//
//         timed_adc_telemetry_t data = {.timestamp = k_uptime_get(), .data = vin_adc_data_v};
//         k_msgq_put(&adc_logging_msgq, &data, K_MSEC(ADC_UPDATE_TIME_MS));
//
//         k_msleep(15);
//     }
// }
```
